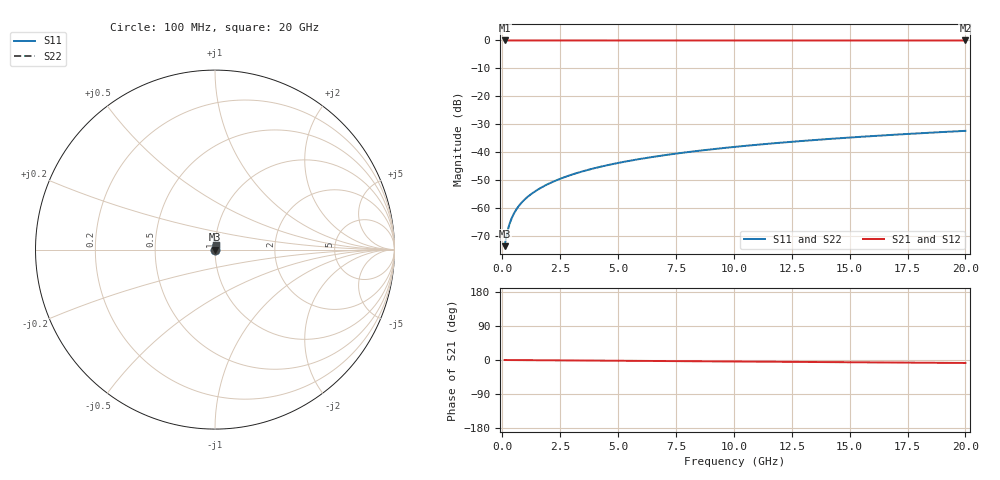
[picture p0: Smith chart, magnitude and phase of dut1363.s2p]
! Touchstone file exported from HFSS 2026.1.0
!  File:  C:/ffzhzh/LocalFiles/Ansys_Project_Files/temp_train_TSV_1363_1783196076_55132.aedt
!  Generated:  04:16:17 AM Jul  5, 2026
!  Design:  TSV
!  Project:  temp_train_TSV_1363_1783196076_55132
! Variables:
!  h_bsmrdl = 2um
!  h_ox = 20um
!  h_rdl = 5um
!  h_sub = 75.57um
!  h_tmrdl = 5um
!  h_tsv = 75.57um
!  h_via = 3um
!  l_bsmrdl = 300um
!  l_sub = 419.14um
!  l_tmrdl = 200um
!  m_sub = 200um
!  pitch = 47.27um
!  r_tsv = 9.57um
!  s_tmrdl = 10um
!  w_bsmrdl = 18um
!  w_sub = 500um
!  w_tmrdl = 12um
!  x_tsv_center1 = 206um
!  x_tsv_center2 = 524um
!  x_tsv_center3 = 736um
!  x_tsv_center4 = 1054um
!  x_tsv_center5 = 1266um
!  x_tsv_center6 = 1584um
# GHz S MA R 50.000000
! Terminal data exported
! Port[1] = TSV1_1_T1
! Port[2] = TSV1_1_T2
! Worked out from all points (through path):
!   200 points, 100 MHz to 20 GHz, reference 50 ohm
!   highest |S21| = 0.00 dB at 100 MHz (marker M1); lowest = 0.0 dB at 20 GHz (marker M2)
!   group delay of S21, straight-line fit = 1.09 ps
!   lowest |S11| = -73.7 dB at 100 MHz (marker M3), VSWR 1.00, Z = 50 + j0.016 ohm
!   |S11| at or under -10 dB: start of sweep to end of sweep
!   |S22| runs from -73.7 to -32.4 dB; largest |S21 - S12| = 5.1e-15
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0.1  0.0002058 51.1  0.9999 -0.0  0.9999 -0.0  0.0002058 51.1
! Gamma 0 0 0 0
! Port Impedance 50 0 50 0
0.2  0.0003474 66.2  0.9999 -0.1  0.9999 -0.1  0.0003474 66.2
0.3  0.0004969 71.6  0.9998 -0.1  0.9998 -0.1  0.0004969 71.6
0.4  0.0006448 74.1  0.9998 -0.2  0.9998 -0.2  0.0006448 74.1
0.5  0.0007889 75.4  0.9998 -0.2  0.9998 -0.2  0.0007889 75.4
0.6  0.0009288 76.2  0.9998 -0.2  0.9998 -0.2  0.0009288 76.2
0.7  0.001065 76.7  0.9998 -0.3  0.9998 -0.3  0.001065 76.7
0.8  0.001198 77.2  0.9997 -0.3  0.9997 -0.3  0.001198 77.2
1  0.001456 77.9  0.9997 -0.4  0.9997 -0.4  0.001456 77.9
1.4  0.001958 79.2  0.9996 -0.6  0.9996 -0.6  0.001958 79.2
1.7  0.00233 79.9  0.9996 -0.7  0.9996 -0.7  0.00233 79.9
2  0.002701 80.6  0.9996 -0.8  0.9996 -0.8  0.002701 80.6
2.7  0.003566 81.5  0.9995 -1.1  0.9995 -1.1  0.003566 81.5
3.5  0.00455 82.1  0.9995 -1.4  0.9995 -1.4  0.00455 82.1
4.2  0.005406 82.3  0.9994 -1.7  0.9994 -1.7  0.005406 82.3
5  0.006377 82.4  0.9994 -2.0  0.9994 -2.0  0.006377 82.4
6.8  0.00854 82.4  0.9992 -2.7  0.9992 -2.7  0.00854 82.4
8.3  0.01033 82.2  0.9991 -3.3  0.9991 -3.3  0.01033 82.2
10.1  0.01246 81.9  0.999 -4.0  0.999 -4.0  0.01246 81.9
13.4  0.01633 81.1  0.9989 -5.3  0.9989 -5.3  0.01633 81.1
16.7  0.02018 80.2  0.9987 -6.6  0.9987 -6.6  0.02018 80.2
20  0.02399 79.1  0.9985 -7.9  0.9985 -7.9  0.02399 79.1
